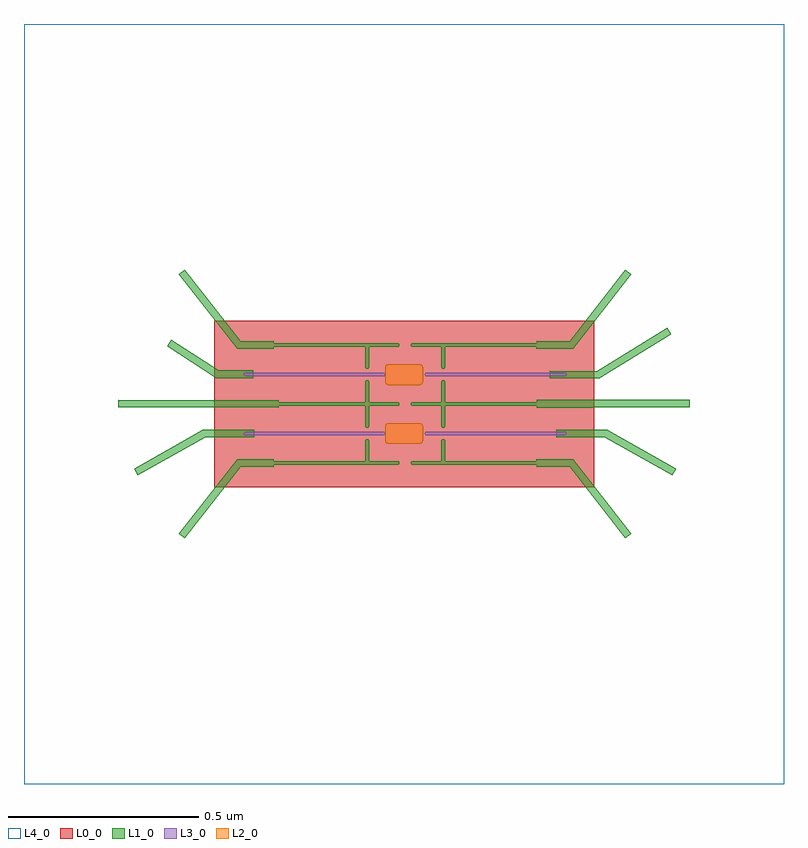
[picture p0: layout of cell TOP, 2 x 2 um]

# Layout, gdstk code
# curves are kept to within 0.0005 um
import gdstk
lib = gdstk.Library(unit=1e-6, precision=1e-10)
def R(c, l, rs):  # rectangles x0, y0, x1, y1
    for r in rs: c.add(gdstk.rectangle(r[:2], r[2:], *l))
def P(c, l, *ps):  # polygons
    for p in ps: c.add(gdstk.Polygon(p, *l))
L0_0 = (0, 0)
L1_0 = (1, 0)
L2_0 = (2, 0)
L3_0 = (3, 0)
L4_0 = (4, 0)

top = lib.new_cell('TOP')
R(top, L0_0, [(-0.5,-0.2195,0.5,0.0645), (-0.5,-0.0645,0.5,0.2195)])
P(top, L1_0, [(-0.0165,-0.0051),(-0.3801,-0.0047),(-0.3835,-0.0029),(-0.3846,0.0009),(-0.3835,0.0036),(-0.3801,0.0054),(-0.0165,0.005),(-0.0138,0.0039),(-0.012,0.0005),(-0.0131,-0.0033)],
  [(0.0226,-0.005),(0.0199,-0.0039),(0.0181,-0.0005),(0.0192,0.0033),(0.0226,0.0051),(0.3861,0.0055),(0.3888,0.0044),(0.3906,0.001),(0.3895,-0.0028),(0.3861,-0.0046)],
  [(-0.0165,0.15),(-0.3801,0.1504),(-0.3835,0.1522),(-0.3846,0.1559),(-0.3835,0.1586),(-0.3801,0.1604),(-0.0165,0.16),(-0.0138,0.1589),(-0.012,0.1555),(-0.0131,0.1518)],
  [(0.0226,0.1501),(0.0199,0.1512),(0.0181,0.1546),(0.0192,0.1583),(0.0226,0.1601),(0.3861,0.1605),(0.3888,0.1594),(0.3906,0.156),(0.3895,0.1523),(0.3861,0.1505)],
  [(-0.0165,-0.1601),(-0.3801,-0.1597),(-0.3835,-0.1579),(-0.3846,-0.1542),(-0.3835,-0.1515),(-0.3801,-0.1497),(-0.0165,-0.1501),(-0.0138,-0.1512),(-0.012,-0.1546),(-0.0131,-0.1583)],
  [(0.0226,-0.16),(0.0199,-0.1589),(0.0181,-0.1555),(0.0192,-0.1518),(0.0226,-0.15),(0.3861,-0.1496),(0.3888,-0.1507),(0.3906,-0.1541),(0.3895,-0.1578),(0.3861,-0.1596)],
  [(-0.0165,0.15),(-0.3801,0.1504),(-0.3835,0.1522),(-0.3846,0.1559),(-0.3835,0.1586),(-0.3801,0.1604),(-0.0165,0.16),(-0.0138,0.1589),(-0.012,0.1555),(-0.0131,0.1518)],
  [(0.0226,0.1501),(0.0199,0.1512),(0.0181,0.1546),(0.0192,0.1583),(0.0226,0.1601),(0.3861,0.1605),(0.3888,0.1594),(0.3906,0.156),(0.3895,0.1523),(0.3861,0.1505)],
  [(0.0226,0.1501),(0.0199,0.1512),(0.0181,0.1546),(0.0192,0.1583),(0.0226,0.1601),(0.3861,0.1605),(0.3888,0.1594),(0.3906,0.156),(0.3895,0.1523),(0.3861,0.1505)],
  [(-0.0165,0.15),(-0.3801,0.1504),(-0.3835,0.1522),(-0.3846,0.1559),(-0.3835,0.1586),(-0.3801,0.1604),(-0.0165,0.16),(-0.0138,0.1589),(-0.012,0.1555),(-0.0131,0.1518)],
  [(0.0226,0.1501),(0.0199,0.1512),(0.0181,0.1546),(0.0192,0.1583),(0.0226,0.1601),(0.3861,0.1605),(0.3888,0.1594),(0.3906,0.156),(0.3895,0.1523),(0.3861,0.1505)],
  [(-0.0165,-0.1601),(-0.3801,-0.1597),(-0.3835,-0.1579),(-0.3846,-0.1542),(-0.3835,-0.1515),(-0.3801,-0.1497),(-0.0165,-0.1501),(-0.0138,-0.1512),(-0.012,-0.1546),(-0.0131,-0.1583)],
  [(0.0226,-0.16),(0.0199,-0.1589),(0.0181,-0.1555),(0.0192,-0.1518),(0.0226,-0.15),(0.3861,-0.1496),(0.3888,-0.1507),(0.3906,-0.1541),(0.3895,-0.1578),(0.3861,-0.1596)],
  [(0.1026,0.0926),(0.0999,0.0937),(0.0981,0.0971),(0.0981,0.1531),(0.0999,0.1565),(0.1036,0.1576),(0.1063,0.1565),(0.1081,0.1531),(0.1081,0.0971),(0.1063,0.0937)],
  [(0.1026,-0.0025),(0.0992,-0.0007),(0.0981,0.0021),(0.0981,0.0581),(0.0999,0.0615),(0.1036,0.0626),(0.1063,0.0615),(0.1081,0.0581),(0.1081,0.0021),(0.1063,-0.0014)],
  [(0.1026,-0.0625),(0.0999,-0.0614),(0.0981,-0.058),(0.0981,-0.002),(0.0999,0.0015),(0.1036,0.0026),(0.107,0.0008),(0.1081,-0.002),(0.1081,-0.058),(0.1063,-0.0614)],
  [(0.1026,-0.1575),(0.0999,-0.1564),(0.0981,-0.153),(0.0981,-0.097),(0.0999,-0.0936),(0.1036,-0.0925),(0.1063,-0.0936),(0.1081,-0.097),(0.1081,-0.153),(0.1063,-0.1564)],
  [(-0.0975,0.0926),(-0.1002,0.0937),(-0.102,0.0971),(-0.102,0.1531),(-0.1002,0.1565),(-0.0965,0.1576),(-0.0938,0.1565),(-0.092,0.1531),(-0.092,0.0971),(-0.0938,0.0937)],
  [(-0.0975,-0.0025),(-0.1009,-0.0007),(-0.102,0.0021),(-0.102,0.0581),(-0.1002,0.0615),(-0.0965,0.0626),(-0.0938,0.0615),(-0.092,0.0581),(-0.092,0.0021),(-0.0938,-0.0014)],
  [(-0.0975,-0.0625),(-0.1002,-0.0614),(-0.102,-0.058),(-0.102,-0.002),(-0.1002,0.0015),(-0.0965,0.0026),(-0.0931,0.0008),(-0.092,-0.002),(-0.092,-0.058),(-0.0938,-0.0614)],
  [(-0.0975,-0.1575),(-0.1002,-0.1564),(-0.102,-0.153),(-0.102,-0.097),(-0.1002,-0.0936),(-0.0965,-0.0925),(-0.0938,-0.0936),(-0.092,-0.097),(-0.092,-0.153),(-0.0938,-0.1564)])
P(top, L2_0, [(-0.041,0.05),(-0.0464,0.0522),(-0.0489,0.0553),(-0.05,0.059),(-0.05,0.096),(-0.0478,0.1014),(-0.0447,0.1039),(-0.041,0.105),(0.041,0.105),(0.0464,0.1028),(0.0489,0.0997),(0.05,0.096),(0.05,0.059),(0.0478,0.0536),(0.0447,0.0511),(0.041,0.05)],
  [(-0.041,-0.105),(-0.0464,-0.1028),(-0.0489,-0.0997),(-0.05,-0.096),(-0.05,-0.059),(-0.0478,-0.0536),(-0.0447,-0.0511),(-0.041,-0.05),(0.041,-0.05),(0.0464,-0.0522),(0.0489,-0.0553),(0.05,-0.059),(0.05,-0.096),(0.0478,-0.1014),(0.0447,-0.1039),(0.041,-0.105)])
P(top, L3_0, [(-0.0535,0.0725),(-0.4171,0.0729),(-0.4205,0.0747),(-0.4216,0.0784),(-0.4205,0.0811),(-0.4171,0.0829),(-0.0535,0.0825),(-0.0508,0.0814),(-0.049,0.078),(-0.0501,0.0743)],
  [(-0.4171,-0.083),(-0.4198,-0.0819),(-0.4216,-0.0785),(-0.4205,-0.0748),(-0.4171,-0.073),(-0.0535,-0.0726),(-0.0508,-0.0737),(-0.049,-0.0771),(-0.0501,-0.0808),(-0.0535,-0.0826)],
  [(0.0596,0.0726),(0.0569,0.0737),(0.0551,0.0771),(0.0562,0.0808),(0.0596,0.0826),(0.4232,0.083),(0.4259,0.0819),(0.4277,0.0785),(0.4266,0.0748),(0.4232,0.073)],
  [(0.0596,-0.0825),(0.0569,-0.0814),(0.0551,-0.078),(0.0562,-0.0743),(0.0596,-0.0725),(0.4232,-0.0721),(0.4259,-0.0732),(0.4277,-0.0766),(0.4266,-0.0803),(0.4232,-0.0821)])
R(top, L4_0, [(-1,-1,1,1)])
top.add(gdstk.FlexPath([(-0.3427,0.1559),(-0.4346,0.1552),(-0.5845,0.347)], 0.02, ends="flush", simple_path=True, layer=1, datatype=0))  # L1_0
top.add(gdstk.FlexPath([(0.3487,0.156),(0.4407,0.1553),(0.5906,0.3471)], 0.02, ends="flush", simple_path=True, layer=1, datatype=0))  # L1_0
top.add(gdstk.FlexPath([(-0.3427,0.1559),(-0.4346,0.1552),(-0.5845,0.347)], 0.02, ends="flush", simple_path=True, layer=1, datatype=0))  # L1_0
top.add(gdstk.FlexPath([(0.3487,0.156),(0.4407,0.1553),(0.5906,0.3471)], 0.02, ends="flush", simple_path=True, layer=1, datatype=0))  # L1_0
top.add(gdstk.FlexPath([(-0.3427,-0.156),(-0.4346,-0.1553),(-0.5845,-0.3471)], 0.02, ends="flush", simple_path=True, layer=1, datatype=0))  # L1_0
top.add(gdstk.FlexPath([(0.3487,-0.1559),(0.4407,-0.1552),(0.5906,-0.347)], 0.02, ends="flush", simple_path=True, layer=1, datatype=0))  # L1_0
top.add(gdstk.FlexPath([(-0.3942,-0.0781),(-0.5267,-0.0784),(-0.7051,-0.1786)], 0.02, ends="flush", simple_path=True, layer=1, datatype=0))  # L1_0
top.add(gdstk.FlexPath([(-0.3971,0.0783),(-0.4906,0.0783),(-0.6175,0.1603)], 0.02, ends="flush", simple_path=True, layer=1, datatype=0))  # L1_0
top.add(gdstk.FlexPath([(-0.329,0.0002),(-0.752,0.0016)], 0.02, ends="flush", simple_path=True, layer=1, datatype=0))  # L1_0
top.add(gdstk.FlexPath([(0.3489,0.0007),(0.4967,0.0007),(0.752,0.0014)], 0.02, ends="flush", simple_path=True, layer=1, datatype=0))  # L1_0
top.add(gdstk.FlexPath([(0.4002,-0.078),(0.5328,-0.0783),(0.7112,-0.1785)], 0.02, ends="flush", simple_path=True, layer=1, datatype=0))  # L1_0
top.add(gdstk.FlexPath([(0.3832,0.078),(0.5103,0.0768),(0.698,0.1917)], 0.02, ends="flush", simple_path=True, layer=1, datatype=0))  # L1_0

lib.write_gds('TOP.gds')
